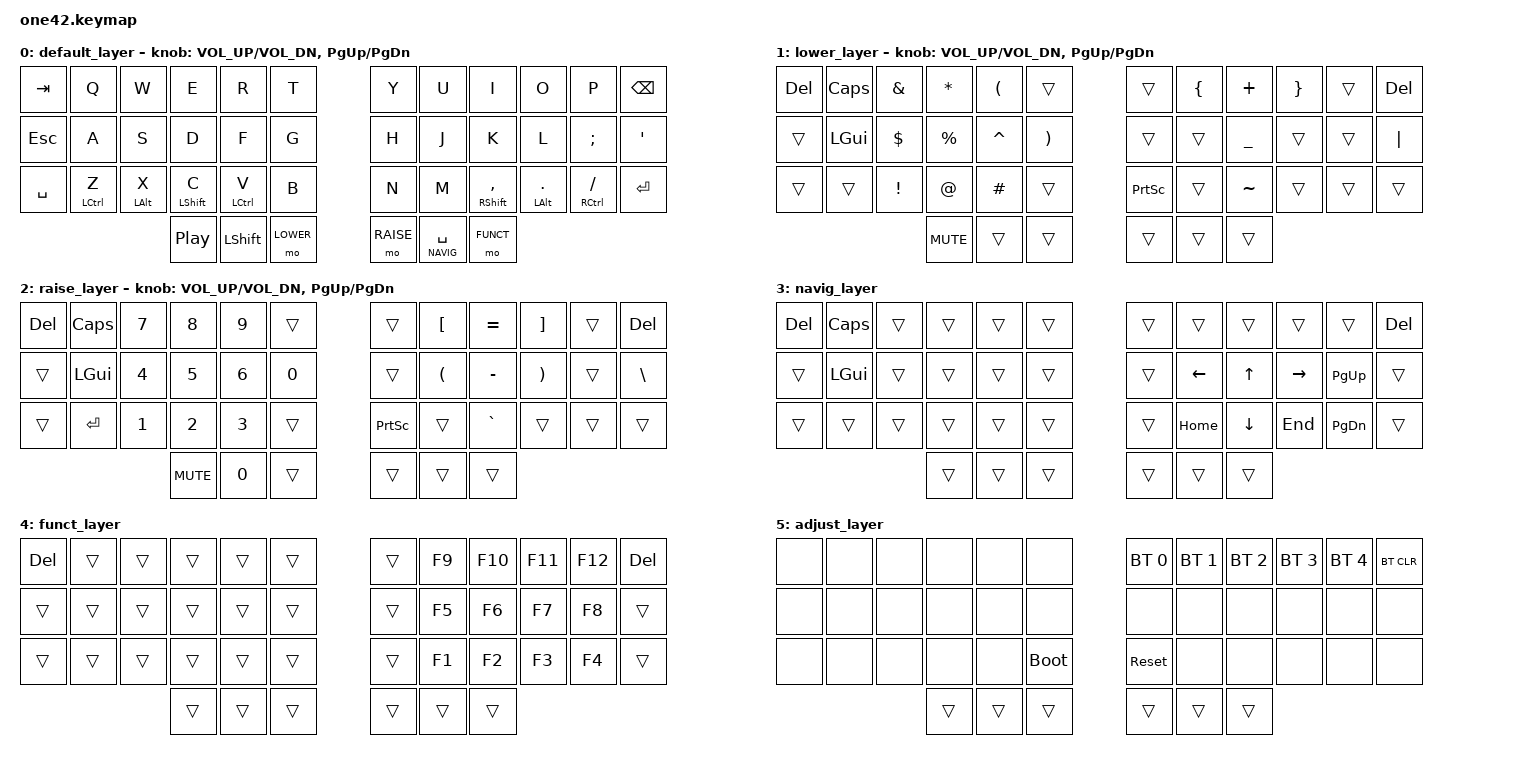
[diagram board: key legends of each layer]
/*
 * Copyright (c) 2020 The ZMK Contributors
 *
 * SPDX-License-Identifier: MIT
 */

#include <behaviors.dtsi>
#include <dt-bindings/zmk/keys.h>
#include <dt-bindings/zmk/bt.h>

#define DEFAULT 0
#define LOWER   1
#define RAISE   2
#define NAVIG   3
#define FUNCT   4
#define ADJST   5

&sensors {
     status = "okay";
     sensors = <&left_encoder &right_encoder>;
};

&left_encoder { status = "okay"; };
&right_encoder { status = "disabled"; };

/ {
    behaviors {
        hm: homerow_mods {
            compatible = "zmk,behavior-hold-tap";
            label = "HOMEROW_MODS";
            #binding-cells = <2>;
            tapping-term-ms = <200>;
            quick_tap_ms = <0>;
            flavor = "tap-preferred";
            bindings = <&kp>, <&kp>;
        };
    };

    combos {
        compatible = "zmk,combos";
        combo_tab {
            timeout-ms = <30>;
            key-positions = <2 3>;
            bindings = <&kp TAB>;
        };
        combo_esc {
            timeout-ms = <30>;
            key-positions = <14 15>;
            bindings = <&kp ESC>;
        };
        combo_lbspc {
            timeout-ms = <70>;
            key-positions = <26 27>;
            bindings = <&kp BSPC>;
        };
        combo_ldel {
            timeout-ms = <70>;
            key-positions = <27 28>;
            bindings = <&kp DEL>;
        };
        combo_enter {
            timeout-ms = <40>;
            key-positions = <20 21>;
            bindings = <&kp ENTER>;
        };
        combo_rbspc {
            timeout-ms = <70>;
            key-positions = <31 32>;
            bindings = <&kp BSPC>;
        };
        combo_rdel {
            timeout-ms = <70>;
            key-positions = <32 33>;
            bindings = <&kp DEL>;
        };
    };
};

/ {
    keymap {
        compatible = "zmk,keymap";

        default_layer {
            bindings = <
                &kp TAB   &kp Q       &kp W      &kp E       &kp R       &kp T       &kp Y   &kp U       &kp I           &kp O        &kp P          &kp BSPC
                &kp ESC   &kp A       &kp S      &kp D       &kp F       &kp G       &kp H   &kp J       &kp K           &kp L        &kp SEMI       &kp SQT
                &kp SPACE &hm LCTRL Z &hm LALT X &hm LSHFT C &hm LCTRL V &kp B       &kp N   &kp M       &hm RSHFT COMMA &hm LALT DOT &hm RCTRL FSLH &kp RET
                                                       &kp C_PP &kp LSHFT &mo LOWER &mo RAISE &lt NAVIG SPACE &mo FUNCT
            >;
            sensor-bindings = <&inc_dec_kp C_VOL_UP C_VOL_DN &inc_dec_kp PG_UP PG_DN>;
        };

        lower_layer {
            bindings = <
                &kp DEL  &kp CLCK &kp AMPS &kp ASTRK &kp LPAR  &trans         &trans    &kp LBRC  &kp PLUS  &kp RBRC  &trans    &kp DEL
                &trans   &kp LGUI &kp DLLR &kp PRCNT &kp CARET &kp RPAR       &trans    &trans    &kp UNDER &trans    &trans    &kp PIPE
                &trans   &trans   &kp EXCL &kp AT    &kp HASH  &trans         &kp PSCRN &trans    &kp TILDE &trans    &trans    &trans
                                              &kp C_MUTE &trans  &trans   &trans  &trans  &trans
            >;
            sensor-bindings = <&inc_dec_kp C_VOL_UP C_VOL_DN &inc_dec_kp PG_UP PG_DN>;
        };

        raise_layer {
            bindings = <
                &kp DEL  &kp CLCK &kp N7   &kp N8   &kp N9   &trans         &trans    &kp LBKT  &kp EQUAL &kp RBKT  &trans    &kp DEL
                &trans   &kp LGUI &kp N4   &kp N5   &kp N6   &kp N0         &trans    &kp LPAR  &kp MINUS &kp RPAR  &trans    &kp BSLH
                &trans   &kp RET  &kp N1   &kp N2   &kp N3   &trans         &kp PSCRN &trans    &kp GRAVE &trans    &trans    &trans
                                              &kp C_MUTE &kp N0  &trans   &trans  &trans  &trans
            >;
            sensor-bindings = <&inc_dec_kp C_VOL_UP C_VOL_DN &inc_dec_kp PG_UP PG_DN>;
        };

        navig_layer {
            bindings = <
                &kp DEL  &kp CLCK &trans   &trans   &trans   &trans          &trans   &trans   &trans    &trans    &trans    &kp DEL
                &trans   &kp LGUI &trans   &trans   &trans   &trans          &trans   &kp LEFT &kp UP    &kp RIGHT &kp PG_UP &trans
                &trans   &trans   &trans   &trans   &trans   &trans          &trans   &kp HOME &kp DOWN  &kp END   &kp PG_DN &trans
                                            &trans   &trans   &trans     &trans   &trans   &trans
            >;
        };

        funct_layer {
            bindings = <
                &kp DEL  &trans   &trans   &trans   &trans   &trans          &trans   &kp F9   &kp F10  &kp F11  &kp F12  &kp DEL
                &trans   &trans   &trans   &trans   &trans   &trans          &trans   &kp F5   &kp F6   &kp F7   &kp F8   &trans
                &trans   &trans   &trans   &trans   &trans   &trans          &trans   &kp F1   &kp F2   &kp F3   &kp F4   &trans
                                            &trans   &trans   &trans     &trans   &trans   &trans
            >;
        };

        adjust_layer {
            bindings = <
                &none    &none    &none    &none    &none    &none           &bt BT_SEL 0 &bt BT_SEL 1 &bt BT_SEL 2 &bt BT_SEL 3 &bt BT_SEL 4 &bt BT_CLR
                &none    &none    &none    &none    &none    &none           &none        &none        &none        &none        &none        &none
                &none    &none    &none    &none    &none    &bootloader     &sys_reset   &none        &none        &none        &none        &none
                                             &trans   &trans   &trans     &trans   &trans   &trans
            >;
        };
    };

    conditional_layers {
        compatible = "zmk,conditional-layers";

        adjust_layer {
            if-layers = <1 2>;
            then-layer = <5>;
        };
    };
};
